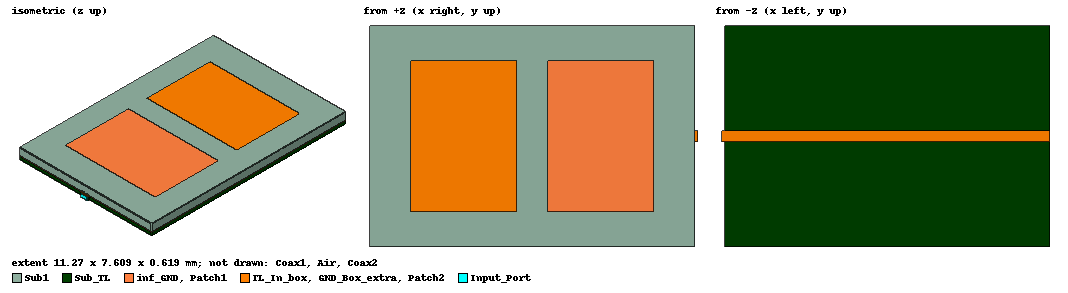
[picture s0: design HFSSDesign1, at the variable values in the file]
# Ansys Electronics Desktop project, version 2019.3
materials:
  vacuum: permittivity=1
  Rogers RT/duroid 5880 (tm): permittivity=2.2 dielectric_loss_tangent=0.0009
  pec: conductivity=1e+30
  Rogers RO4003 (tm): permittivity=3.55 dielectric_loss_tangent=0.0027

design HFSSDesign1 (HFSS, DrivenModal, model units mm)
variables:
  Lp = 3.633mm  # optimise 1.961496581mm..5.884489743mm
  Wp = 5.173mm  # optimise 2.538622579mm..7.615867737mm
  hs = 0.406mm
  Ws = Wp+6*hs
  Ls = 7*hs+2*Lp+dp
  xsub = -Ls/2
  ysub = -Ws/2
  xfeed = 1.2mm  # optimise 0.4620027115mm..1.3860081345mm
  dp = 1.06mm  # optimise 0.19101913mm..0.57305739mm
  rcoax = 0.14mm
  hcoax = 0.203mm
  rprope = 0.07mm
  Lair = 0.01+Ls
  Wair = 0.01+Ws
  xair = Lair/2
  yair = Wair/2
  hair = 5mm
  yfeed = 0mm
  xp = dp/2
  yp = -Wp/2
  hgnd = -0.032mm
  X_TL_1 = 2.288307mm
  Y_TL_1 = 0.276146mm
  Y_TL_vertical = 3.105225mm
  WTL_in = 0.4mm
  LTL_extra = 0.1mm
  hTL = 0.01mm
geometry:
  Sub1 [Rogers RO4003 (tm)] = box(corner=(xsub, ysub, 0mm), size=(Ls, Ws, hs))
  Patch1 [Rogers RT/duroid 5880 (tm)] = rectangle(corner=(xp, yp, hs), x_size=Lp, y_size=Wp)
  Coax1 [vacuum] = cylinder(axis=Z, base_centre=(xp+xfeed, yfeed, 0mm), radius=rcoax, height=-hcoax)
  Coax_Pin1 [pec] = cylinder(axis=Z, base_centre=(xp+xfeed, yfeed, 0mm), radius=rprope, height=-hcoax)
  Prope1 [pec] = cylinder(axis=Z, base_centre=(xp+xfeed, yfeed, 0mm), radius=rprope, height=hs)
  Air [vacuum] = box(corner=(-xair, -yair, -hair/2), size=(Lair, Wair, hair))
  inf_GND [pec] = box(corner=(xsub, ysub, 0mm), size=(Ls, Ws, hgnd))
  Cylinder_cut_1 = cylinder(axis=Z, base_centre=(xp+xfeed, yfeed, 0), radius=rcoax, height=hgnd)
  inf_GND.subtract(Cylinder_cut_1)
  Sub_TL [Rogers RO4003 (tm)] = box(corner=(xsub, ysub, 0), size=(Ls, Ws, -hcoax))
  Coax2 [vacuum] = cylinder(axis=Z, base_centre=(-(xp+xfeed), yfeed, 0mm), radius=rcoax, height=-hcoax)
  Prope2 [pec] = cylinder(axis=Z, base_centre=(-(xp+xfeed), yfeed, 0mm), radius=rprope, height=hs)
  Coax_Pin2 [pec] = cylinder(axis=Z, base_centre=(-(xp+xfeed), yfeed, 0mm), radius=rprope, height=-hcoax)
  Patch2 [pec] = rectangle(corner=(-xp, yp, hs), x_size=-Lp, y_size=Wp)
  Cylinder_cut_2 = cylinder(axis=Z, base_centre=(-(xp+xfeed), yfeed, 0mm), radius=rcoax, height=hgnd)
  inf_GND.subtract(Cylinder_cut_2)
  Input_Port = rectangle(corner=(-xsub +LTL_extra, yfeed/2-WTL_in/2, -hcoax-hTL), y_size=WTL_in, z_size=hcoax+hTL)
  TL_In_box [pec] = box(corner=(-xsub+LTL_extra, yfeed/2-WTL_in/2, -hcoax), size=(-Ls-LTL_extra, WTL_in, -hTL))
  TL_SUB_extra [Rogers RO4003 (tm)] = box(corner=(-xsub +LTL_extra, yfeed/2-WTL_in/2, -hcoax), size=(-LTL_extra, WTL_in, hcoax+hgnd))
  GND_Box_extra [pec] = box(corner=(-xsub +LTL_extra, yfeed/2-WTL_in/2, 0mm), size=(-LTL_extra, WTL_in, hgnd))
  group Input_feed1 = Coax1, Coax_Pin1, Prope1
  group PCB = Sub1, inf_GND, Sub_TL
  group Input_feed2 = Coax2, Prope2, Coax_Pin2
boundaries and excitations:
  PerfE_Patch: Perfect E Objects=Patch1
  Rad1: Radiation Faces=Air.face(+x, +y, -y, -x, +z)
  PerfE1: Perfect E Objects=Patch2
  1: Lumped Port Objects=Input_Port Modes{Mode1{IntLine{middle of Input_Port.edge(z opposite corner) -> middle of Input_Port.edge(z at corner)} CharImp=Zpi RenormImp=50ohm}} Impedance=50ohm
  reference conductors: inf_GND
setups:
  Setup1: HfssDriven Frequency=20GHz MaxDeltaS=0.02 MaximumPasses=18 MinimumPasses=1 MinimumConvergedPasses=1 PercentRefinement=30 BasisOrder=1 PortAccuracy=2
    sweep Sweep: 10GHz to 30GHz step 0.1GHz; Type=Fast SaveFields SaveRadFields GenerateFieldsForAllFreqs
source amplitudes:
  1:1: 1W 0deg
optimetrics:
  OptimizationSetup1: Optimization Optimizer="Quasi Newton" AnalysisStopOptions{StopForNumIteration MaxNumIteration=1000 MinNumIteration=10} CostFuncNormType=L2 Acceptable_Cost=0 Noise=0.0001 UpdateDesignWhenDone
    vary Lp: Min=1.961496581mm Max=5.884489743mm MinStep=0.039229932mm MaxStep=0.39229932mm MinFocus=1.961496581mm MaxFocus=5.884489743mm start=4mm
    vary xfeed: Min=0.46200271mm Max=1.3860081mm MinStep=0.0092400542mm MaxStep=0.092400542mm MinFocus=0.46200271mm MaxFocus=1.3860081mm start=0.915806943mm
    goal dB(S(1,1)) <= -15 weight 5 on Setup1 : Sweep at Freq 20GHz
    goal mag(Z(1,1)) >= 20 weight 1 on Setup1 : Sweep at Freq 20GHz
    goal mag(Z(1,1)) >= 50 weight 1 on Setup1 : Sweep at Freq 20GHz
  ParametricSetup1: Parametric Sim._Setups=[Setup1]
    sweep WTL_in: LIN 0.01mm 2mm 0.2mm
    sweep LTL_extra: LIN 0.05mm 0.15mm 0.02mm
    calculate dB(S(1,1)) on Setup1 : Sweep at Freq 20GHz
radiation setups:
  e_plane: Infinite Sphere Theta=-180deg..180deg step 2deg Phi=0deg..0deg step 1deg
  h_plane: Infinite Sphere Theta=-180deg..180deg step 2deg Phi=90deg..90deg step 1deg
  3d: Infinite Sphere Theta=-180deg..180deg step 2deg Phi=0deg..360deg step 2deg
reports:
  Eradation_pattern: abs(rETotal) vs Theta on Setup1 : LastAdaptive, e_plane [Phi=all Freq=20GHz]
  Hradation_pattern: abs(rETotal) vs Theta on Setup1 : LastAdaptive, h_plane [Phi=all Freq=20GHz]
  Co_X_graph: dB10normalize(GainPhi), dB10normalize(GainTheta) vs Theta on Setup1 : LastAdaptive, e_plane [Phi=0deg Freq=20GHz]
  Gain_2D: GainTotal vs Theta on Setup1 : LastAdaptive, e_plane [Phi=all Freq=20GHz dp=all]
  VSWR: VSWR(1) vs Freq on Setup1 : Sweep; markers m1 at 20GHz
  Gain_3D: mag(GainTotal) vs Phi, Theta on Setup1 : LastAdaptive, 3d [Freq=20GHz]
  S Parameter Plot 1: dB(S(1,1)) vs Freq on Setup1 : Sweep [Lp=all Wp=all hs=all]; markers MX1 at x=2.0004876e+10
  S11: dB(S(1,1)) vs Freq on Setup1 : Sweep; markers MX1 at x=2.0011635e+10, MY1 at y=-10.0086
  S11_LW_SWEAP: dB(S(1,1)) vs Freq on Setup1 : Sweep [Lp=all Wp=all]; markers MX1 at x=1.9402839e+10
  ZIn: mag(Z(1,1)) vs Freq on Setup1 : Sweep; markers MX1 at x=2.000993e+10
